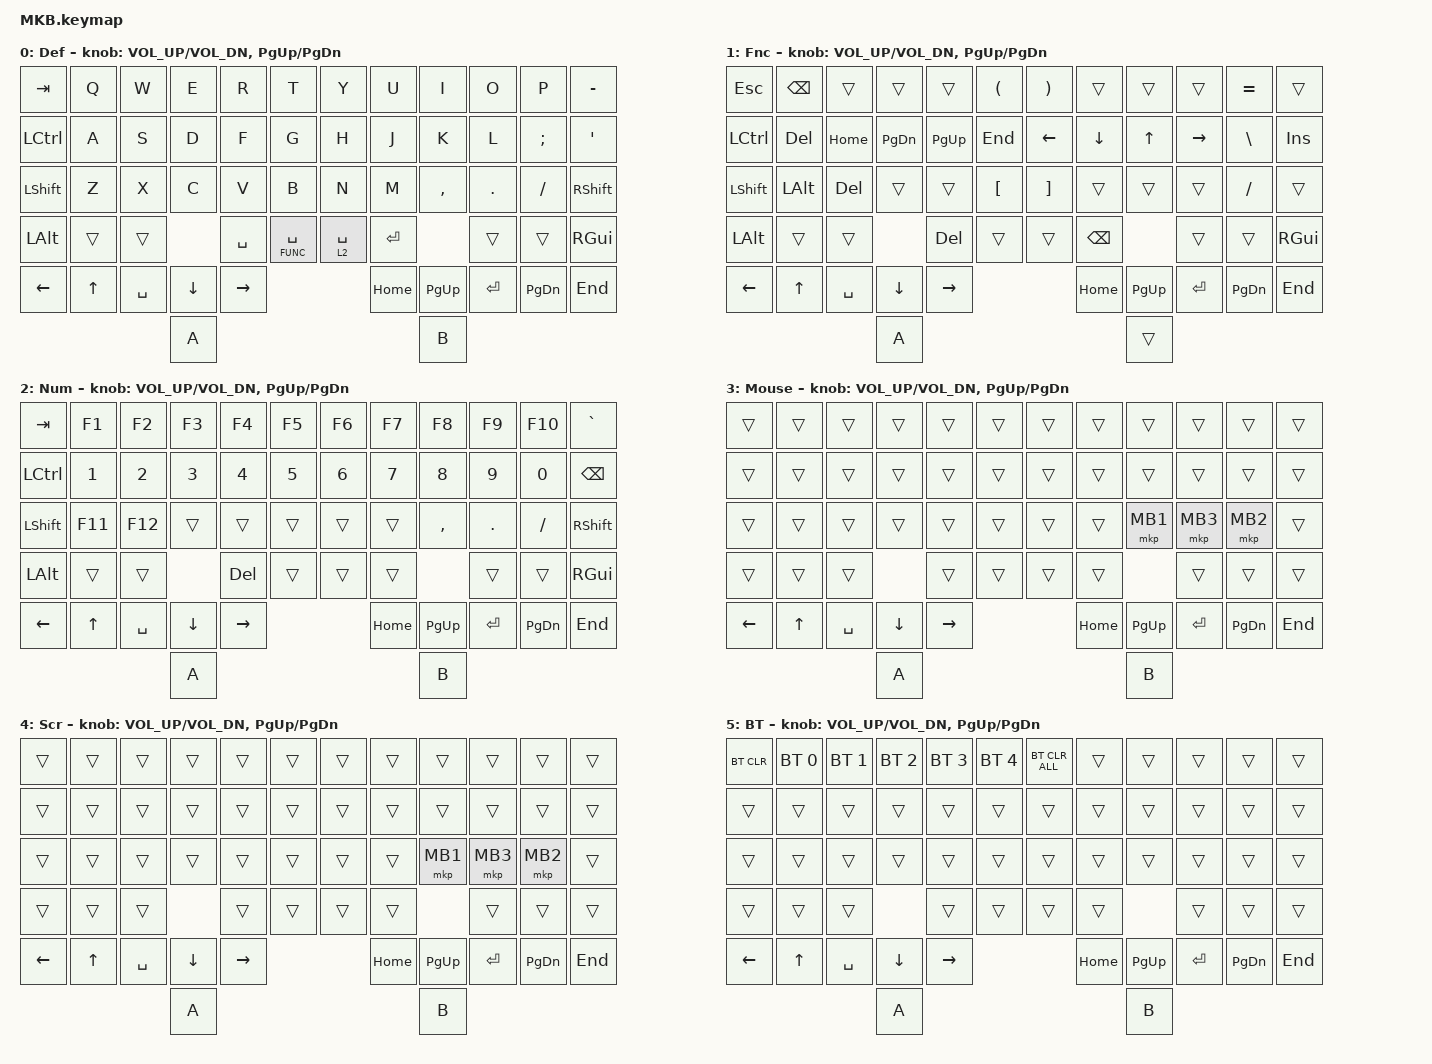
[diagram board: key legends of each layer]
// #include <layout_shift.dtsi>

#include <layout_shift_kp_override.dtsi>
#include <behaviors.dtsi>
#include <dt-bindings/zmk/bt.h>
#include <dt-bindings/zmk/keys.h>
#include <dt-bindings/zmk/pointing.h>

#define DEF 0
#define FUNC 1
#define NUM 2
#define MOUSE 3
#define SCROLL 4
#define BT 5

&mt {
    flavor = "balanced";
    tapping-term-ms = <280>;
    quick-tap-ms = <175>;
    require-prior-idle-ms = <150>;
};

/ {
    keymap {
        compatible = "zmk,keymap";

        default_layer {
            label = "Def";
            bindings = <
&kp TAB           &kp Q   &kp W      &kp E     &kp R      &kp T               &kp Y        &kp U      &kp I      &kp O      &kp P      &kp MINUS
&kp LEFT_CONTROL  &kp A   &kp S      &kp D     &kp F      &kp G               &kp H        &kp J      &kp K      &kp L      &kp SEMI   &kp SQT
&kp LSHFT         &kp Z   &kp X      &kp C     &kp V      &kp B               &kp N        &kp M      &kp COMMA  &kp DOT    &kp SLASH  &kp RSHFT
&kp LALT          &trans  &trans               &kp SPACE  &lt FUNC SPACE      &lt 2 SPACE  &kp ENTER             &trans     &trans     &kp RGUI
&kp LEFT          &kp UP  &kp SPACE  &kp DOWN  &kp RIGHT                                   &kp HOME   &kp PG_UP  &kp ENTER  &kp PG_DN  &kp END
                                     &kp A                                                            &kp B
            >;

            sensor-bindings = <&inc_dec_kp C_VOL_UP C_VOL_DN &inc_dec_kp PG_UP PG_DN>;
        };

        function_layer {
            label = "Fnc";
            bindings = <
&kp ESC     &kp BACKSPACE  &trans     &trans         &trans       &kp LEFT_PARENTHESIS      &kp RIGHT_PARENTHESIS  &trans         &trans     &trans     &kp EQUAL  &trans
&kp LCTRL   &kp DELETE     &kp HOME   &kp PAGE_DOWN  &kp PAGE_UP  &kp END                   &kp LEFT               &kp DOWN       &kp UP     &kp RIGHT  &kp BSLH   &kp INSERT
&kp LSHIFT  &kp LALT       &kp DEL    &trans         &trans       &kp LEFT_BRACKET          &kp RIGHT_BRACKET      &trans         &trans     &trans     &kp SLASH  &trans
&kp LALT    &trans         &trans                    &kp DELETE   &trans                    &trans                 &kp BACKSPACE             &trans     &trans     &kp RGUI
&kp LEFT    &kp UP         &kp SPACE  &kp DOWN       &kp RIGHT                                                     &kp HOME       &kp PG_UP  &kp ENTER  &kp PG_DN  &kp END
                                      &kp A                                                                                       &trans
            >;

            sensor-bindings = <&inc_dec_kp C_VOL_UP C_VOL_DN &inc_dec_kp PG_UP PG_DN>;
        };

        num_layer {
            label = "Num";
            bindings = <
&kp TAB    &kp F1        &kp F2        &kp F3        &kp F4        &kp F5            &kp F6        &kp F7        &kp F8        &kp F9        &kp F10       &kp GRAVE
&kp LCTRL  &kp NUMBER_1  &kp NUMBER_2  &kp NUMBER_3  &kp NUMBER_4  &kp NUMBER_5      &kp NUMBER_6  &kp NUMBER_7  &kp NUMBER_8  &kp NUMBER_9  &kp NUMBER_0  &kp BACKSPACE
&kp LSHFT  &kp F11       &kp F12       &trans        &trans        &trans            &trans        &trans        &kp COMMA     &kp DOT       &kp SLASH     &kp RSHFT
&kp LALT   &trans        &trans                      &kp DEL       &trans            &trans        &trans                      &trans        &trans        &kp RGUI
&kp LEFT   &kp UP        &kp SPACE     &kp DOWN      &kp RIGHT                                     &kp HOME      &kp PG_UP     &kp ENTER     &kp PG_DN     &kp END
                                       &kp A                                                                     &kp B
            >;

            sensor-bindings = <&inc_dec_kp C_VOL_UP C_VOL_DN &inc_dec_kp PG_UP PG_DN>;
        };

        mouse_layer {
            label = "Mouse";
            bindings = <
&trans    &trans  &trans     &trans    &trans     &trans      &trans  &trans    &trans     &trans     &trans     &trans
&trans    &trans  &trans     &trans    &trans     &trans      &trans  &trans    &trans     &trans     &trans     &trans
&trans    &trans  &trans     &trans    &trans     &trans      &trans  &trans    &mkp MB1   &mkp MB3   &mkp MB2   &trans
&trans    &trans  &trans               &trans     &trans      &trans  &trans               &trans     &trans     &trans
&kp LEFT  &kp UP  &kp SPACE  &kp DOWN  &kp RIGHT                      &kp HOME  &kp PG_UP  &kp ENTER  &kp PG_DN  &kp END
                             &kp A                                              &kp B
            >;

            sensor-bindings = <&inc_dec_kp C_VOL_UP C_VOL_DN &inc_dec_kp PG_UP PG_DN>;
        };

        scroll_layer {
            label = "Scr";
            bindings = <
&trans    &trans  &trans     &trans    &trans     &trans      &trans  &trans    &trans     &trans     &trans     &trans
&trans    &trans  &trans     &trans    &trans     &trans      &trans  &trans    &trans     &trans     &trans     &trans
&trans    &trans  &trans     &trans    &trans     &trans      &trans  &trans    &mkp MB1   &mkp MB3   &mkp MB2   &trans
&trans    &trans  &trans               &trans     &trans      &trans  &trans               &trans     &trans     &trans
&kp LEFT  &kp UP  &kp SPACE  &kp DOWN  &kp RIGHT                      &kp HOME  &kp PG_UP  &kp ENTER  &kp PG_DN  &kp END
                             &kp A                                              &kp B
            >;

            sensor-bindings = <&inc_dec_kp C_VOL_UP C_VOL_DN &inc_dec_kp PG_UP PG_DN>;
        };

        bt_layer {
            label = "BT";
            bindings = <
&bt BT_CLR  &bt BT_SEL 0  &bt BT_SEL 1  &bt BT_SEL 2  &bt BT_SEL 3  &bt BT_SEL 4      &bt BT_CLR_ALL  &trans    &trans     &trans     &trans     &trans
&trans      &trans        &trans        &trans        &trans        &trans            &trans          &trans    &trans     &trans     &trans     &trans
&trans      &trans        &trans        &trans        &trans        &trans            &trans          &trans    &trans     &trans     &trans     &trans
&trans      &trans        &trans                      &trans        &trans            &trans          &trans               &trans     &trans     &trans
&kp LEFT    &kp UP        &kp SPACE     &kp DOWN      &kp RIGHT                                       &kp HOME  &kp PG_UP  &kp ENTER  &kp PG_DN  &kp END
                                        &kp A                                                                   &kp B
            >;

            sensor-bindings = <&inc_dec_kp C_VOL_UP C_VOL_DN &inc_dec_kp PG_UP PG_DN>;
        };
    };
};
